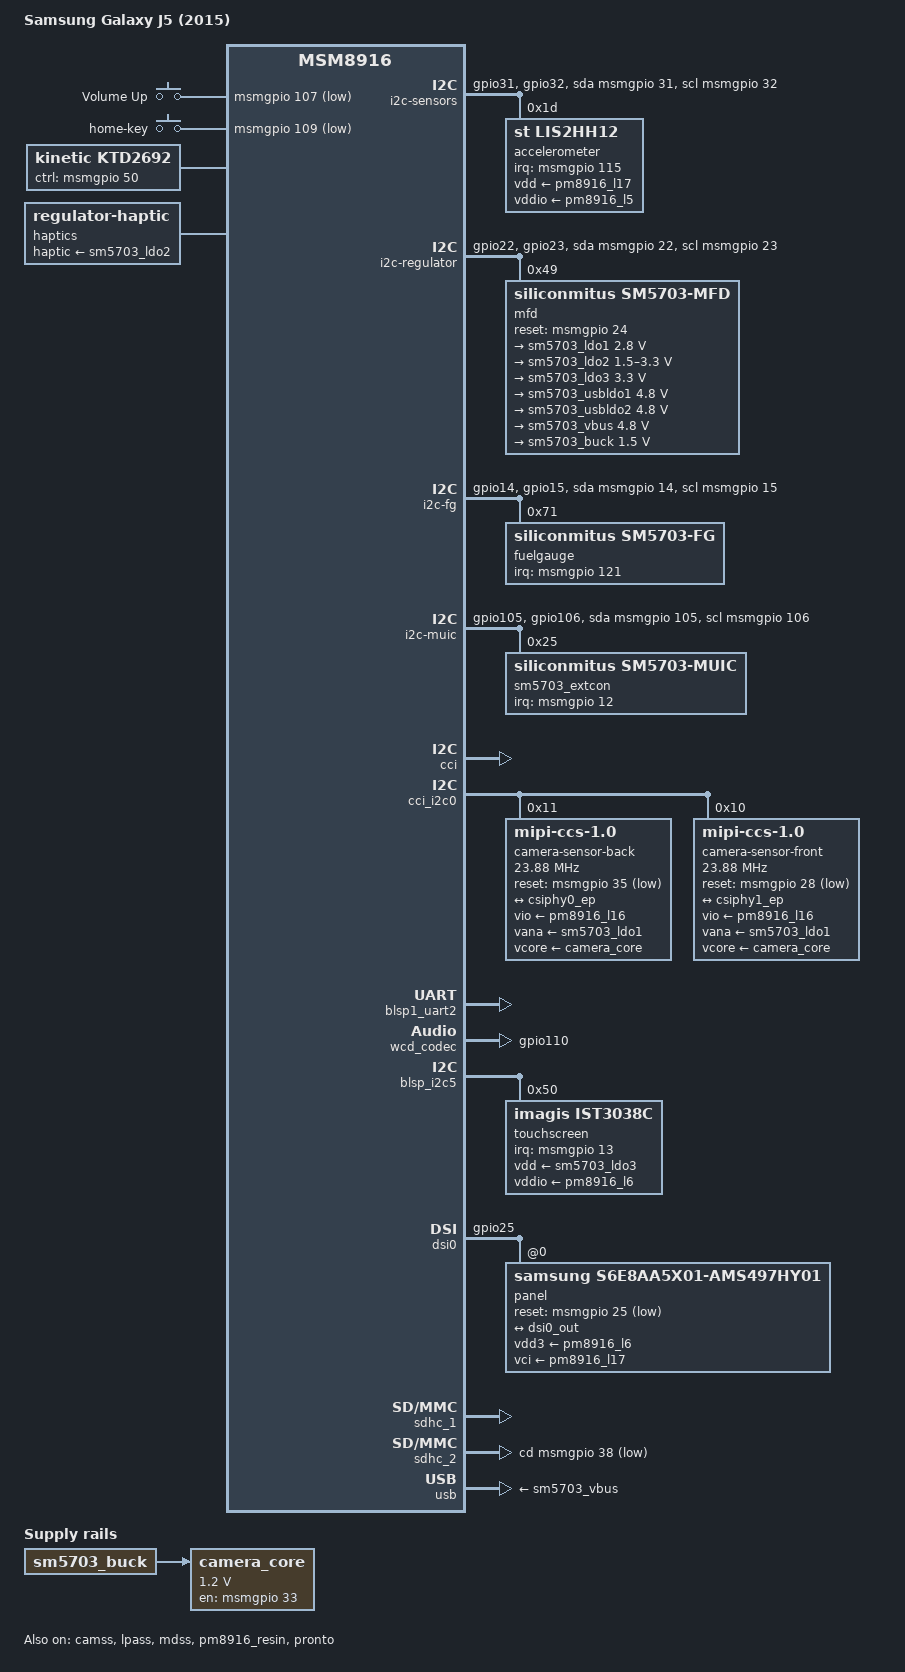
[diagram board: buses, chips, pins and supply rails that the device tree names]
// SPDX-License-Identifier: GPL-2.0-only

/dts-v1/;

#include "msm8916-pm8916.dtsi"
#include <dt-bindings/gpio/gpio.h>
#include <dt-bindings/leds/common.h>
#include <dt-bindings/sound/apq8016-lpass.h>

/ {
	model = "Samsung Galaxy J5 (2015)";
	compatible = "samsung,j5", "qcom,msm8916";
	chassis-type = "handset";

	aliases {
		serial0 = &blsp1_uart2;
	};

	chosen {
		stdout-path = "serial0";
	};

	reserved-memory {
		/* Additional memory used by Samsung firmware modifications */
		tz-apps@85500000 {
			reg = <0x0 0x85500000 0x0 0xb00000>;
			no-map;
		};
		mpss_mem: mpss@86800000 {
			reg = <0x0 0x86800000 0x0 0x5500000>;
			no-map;
		};

		gps_mem: gps@8bd00000 {
			reg = <0x0 0x8bd00000 0x0 0x200000>;
			no-map;
		};
	};

	gpio-keys {
		compatible = "gpio-keys";

		pinctrl-names = "default";
		pinctrl-0 = <&gpio_keys_default>;

		label = "GPIO Buttons";

		volume-up {
			label = "Volume Up";
			gpios = <&msmgpio 107 GPIO_ACTIVE_LOW>;
			linux,code = <KEY_VOLUMEUP>;
		};

		home-key {
			lable = "Home Key";
			gpios = <&msmgpio 109 GPIO_ACTIVE_LOW>;
			linux,code = <KEY_HOMEPAGE>;
			wakeup-source;
		};
	};

	i2c-sensors {
		compatible = "i2c-gpio";

		sda-gpios = <&msmgpio 31 (GPIO_ACTIVE_HIGH|GPIO_OPEN_DRAIN)>;
		scl-gpios = <&msmgpio 32 (GPIO_ACTIVE_HIGH|GPIO_OPEN_DRAIN)>;

		pinctrl-names = "default";
		pinctrl-0 = <&sensors_i2c_default>;

		#address-cells = <1>;
		#size-cells = <0>;

		accelerometer@1d {
			compatible = "st,lis2hh12";
			reg = <0x1d>;

			interrupt-parent = <&msmgpio>;
			interrupts = <115 IRQ_TYPE_EDGE_RISING>;
			interrupt-names = "INT1";

			pinctrl-names = "default";
			pinctrl-0 = <&accel_int_default>;

			vdd-supply = <&pm8916_l17>;
			vddio-supply = <&pm8916_l5>;

			st,drdy-int-pin = <1>;
		};
	};

	i2c-regulator {
		compatible = "i2c-gpio";

		sda-gpios = <&msmgpio 22 (GPIO_ACTIVE_HIGH|GPIO_OPEN_DRAIN)>;
		scl-gpios = <&msmgpio 23 (GPIO_ACTIVE_HIGH|GPIO_OPEN_DRAIN)>;

		pinctrl-names = "default";
		pinctrl-0 = <&regulator_i2c_default>;

		#address-cells = <1>;
		#size-cells = <0>;

		mfd@49 {
			compatible = "siliconmitus,sm5703-mfd";
			reg = <0x49>;

			reset-gpio = <&msmgpio 24 GPIO_ACTIVE_HIGH>;
			pinctrl-0 = <&mrstb_default>;

			regulator {
				compatible = "siliconmitus,sm5703-regulator";

				regulators {
					sm5703_ldo1: ldo1 {
						regulator-min-microvolt = <2800000>;
						regulator-max-microvolt = <2800000>;
						regulator-always-on;
					};

					sm5703_ldo2: ldo2 {
						regulator-min-microvolt = <1500000>;
						regulator-max-microvolt = <3300000>;
					};

					sm5703_ldo3: ldo3 {
						regulator-min-microvolt = <3300000>;
						regulator-max-microvolt = <3300000>;
					};

					sm5703_usbldo1: usbldo1 {
						regulator-min-microvolt = <4800000>;
						regulator-max-microvolt = <4800000>;
					};

					sm5703_usbldo2: usbldo2 {
						regulator-min-microvolt = <4800000>;
						regulator-max-microvolt = <4800000>;
					};

					sm5703_vbus: vbus {
						regulator-min-microvolt = <4800000>;
						regulator-max-microvolt = <4800000>;
					};
	
					sm5703_buck: buck {
						regulator-min-microvolt = <1500000>;
						regulator-max-microvolt = <1500000>;
						regulator-always-on;
					};
				};
			};

			flash {
				compatible = "siliconmitus,sm5703-flash";

				flash-gpio = <&msmgpio 34 GPIO_ACTIVE_HIGH>;
				torch-gpio = <&msmgpio 36 GPIO_ACTIVE_HIGH>;

				back-led {
					function = LED_FUNCTION_FLASH;
					color = <LED_COLOR_ID_WHITE>;
					led-max-microamp = <170000>;
					flash-max-microamp = <1200000>;
				};
			};

			charger {
				compatible = "siliconmitus,sm5703-charger";
				siliconmitus,enable-autoset;
				siliconmitus,enable-autostop;
			};
		};
	};

	i2c-fg {
		compatible = "i2c-gpio";

		sda-gpios = <&msmgpio 14 (GPIO_ACTIVE_HIGH|GPIO_OPEN_DRAIN)>;
		scl-gpios = <&msmgpio 15 (GPIO_ACTIVE_HIGH|GPIO_OPEN_DRAIN)>;

		pinctrl-names = "default";
		pinctrl-0 = <&fg_i2c_default>;
		status = "okay";

		#address-cells = <1>;
		#size-cells = <0>;

		fuelgauge@50 {
			compatible = "siliconmitus,sm5703-fg";
			reg = <0x71>;

			interrupt-parent = <&msmgpio>;
			interrupts = <121 IRQ_TYPE_EDGE_FALLING>;
		};
	};

	i2c-muic {
		compatible = "i2c-gpio";

		sda-gpios = <&msmgpio 105 (GPIO_ACTIVE_HIGH|GPIO_OPEN_DRAIN)>;
		scl-gpios = <&msmgpio 106 (GPIO_ACTIVE_HIGH|GPIO_OPEN_DRAIN)>;

		pinctrl-names = "default";
		pinctrl-0 = <&muic_i2c_default>;
		status = "okay";

		#address-cells = <1>;
		#size-cells = <0>;

		sm5703_extcon: extcon@50 {
			compatible = "siliconmitus,sm5703-muic";
			reg = <0x25>;
			interrupt-parent = <&msmgpio>;
			interrupts = <12 IRQ_TYPE_EDGE_FALLING>;
		};
	};

	ktd2692 {
		compatible = "kinetic,ktd2692";
		ctrl-gpios = <&msmgpio 50 GPIO_ACTIVE_HIGH>;

		front-flash-led {
			function = LED_FUNCTION_FLASH;
			color = <LED_COLOR_ID_WHITE>;
			led-max-microamp = <300000>;
			flash-max-microamp = <1500000>;
			flash-max-timeout-us = <1835000>;
		};
	};

	camera_core: regulator_core_supply {
		compatible = "regulator-fixed";
		regulator-name = "regulator_camera_core";
		regulator-min-microvolt = <1200000>;
		regulator-max-microvolt = <1200000>;

		vin-supply = <&sm5703_buck>;

		gpio = <&msmgpio 33 GPIO_ACTIVE_HIGH>;
		enable-active-high;
		regulator-always-on;

		pinctrl-names = "default";
		pinctrl-0 = <&camera_regulator_fixed>;
	};

	haptics {
		compatible = "regulator-haptic";
		haptic-supply = <&sm5703_ldo2>;
		min-microvolt = <3300000>;
		max-microvolt = <3300000>;
	};
};

&camss {
	status = "okay";

	ports {
		port@0 {
			reg = <0>;
			csiphy0_ep: endpoint {
				clock-lanes = <1>;
				data-lanes = <0 1 2 3>;
				remote-endpoint = <&ccs_ep_b>;
			};
		};
		port@1 {
			reg = <1>;
			csiphy1_ep: endpoint {
				clock-lanes = <1>;
				data-lanes = <0 1>;
				remote-endpoint = <&ccs_ep_f>;
			};
		};
	};
};

&cci {
	status = "okay";
};

// link-freq = width * height * bpp * fps / (2 * nlanes)

&cci_i2c0 {
	#address-cells = <1>;
	#size-cells = <0>;

    camera-sensor-back@11 {
		reg = <0x11>;
        compatible = "mipi-ccs-1.0", "mipi-ccs";
		vio-supply = <&pm8916_l16>;
        vana-supply = <&sm5703_ldo1>;
		vcore-supply = <&camera_core>;
        reset-gpios = <&msmgpio 35 GPIO_ACTIVE_LOW>;
        clocks = <&gcc GCC_CAMSS_MCLK0_CLK>;
        clock-frequency = <23880000>;
		pinctrl-names = "default";
		pinctrl-0 = <&camera_back_default_a>;
        port {
            ccs_ep_b: endpoint {
                data-lanes = <0 1 2 3>;
                bus-type = <4>;
                remote-endpoint = <&csiphy0_ep>;
                link-frequencies = /bits/ 64 <146000000>;
            };
        };
   };
    camera-sensor-front@10 {
		reg = <0x10>;
        compatible = "mipi-ccs-1.0", "mipi-ccs";
		vio-supply = <&pm8916_l16>;
        vana-supply = <&sm5703_ldo1>;
		vcore-supply = <&camera_core>;
        reset-gpios = <&msmgpio 28 GPIO_ACTIVE_LOW>;
        clocks = <&gcc GCC_CAMSS_MCLK1_CLK>;
        clock-frequency = <23880000>;
		pinctrl-names = "default";
		pinctrl-0 = <&camera_front_default_a>;
        port {
            ccs_ep_f: endpoint {
                data-lanes = <0 1>;
                bus-type = <4>;
                remote-endpoint = <&csiphy1_ep>; // 146MHz
                link-frequencies = /bits/ 64 <1086324736>;
            };
        };
   };
};

&blsp1_uart2 {
	status = "okay";
};

&lpass {
	status = "okay";
};

&sound {
	status = "okay";

	pinctrl-names = "default", "sleep";
	pinctrl-0 = <&cdc_pdm_lines_act>;
	pinctrl-1 = <&cdc_pdm_lines_sus>;

	model = "msm8916";
	audio-routing =
		"AMIC1", "MIC BIAS External1",
		"AMIC2", "Headset Mic",
		"AMIC3", "MIC BIAS External1";

	dai-link-primary {
		link-name = "Primary MI2S";
		cpu {
			sound-dai = <&lpass MI2S_PRIMARY>;
		};
		codec {
			sound-dai = <&lpass_codec 0>, <&wcd_codec 0>;
		};
	};

	dai-link-tertiary {
		link-name = "Tertiary MI2S";
		cpu {
			sound-dai = <&lpass MI2S_TERTIARY>;
		};
		codec {
			sound-dai = <&lpass_codec 1>, <&wcd_codec 1>;
		};
	};
};

&wcd_codec {
	jack-gpios = <&msmgpio 110 GPIO_ACTIVE_LOW>;
	qcom,micbias1-ext-cap;

	pinctrl-names = "default";
	pinctrl-0 = <&jack_default>;
};

&blsp_i2c5 {
	status = "okay";

	#address-cells = <1>;
	#size-cells = <0>;

	touchscreen@50 {
		compatible = "imagis,ist3038c";
		reg = <0x50>;

		interrupt-parent = <&msmgpio>;
		interrupts = <13 IRQ_TYPE_EDGE_FALLING>;

		touchscreen-size-x = <720>;
		touchscreen-size-y = <1280>;

		vdd-supply = <&sm5703_ldo3>;
		vddio-supply = <&pm8916_l6>;
	};
};

&dsi0 {
	pinctrl-names = "default", "sleep";
	pinctrl-0 = <&mdss_default>;
	pinctrl-1 = <&mdss_sleep>;

	panel@0 {
		reg = <0>;

		compatible = "samsung,s6e8aa5x01-ams497hy01";

		vdd3-supply = <&pm8916_l6>;
		vci-supply = <&pm8916_l17>;

		reset-gpios = <&msmgpio 25 GPIO_ACTIVE_LOW>;

		port {
			panel_in: endpoint {
				remote-endpoint = <&dsi0_out>;
			};
		};
	};
};

&dsi0_out {
	data-lanes = <0 1 2 3>;
	remote-endpoint = <&panel_in>;
};

&mdss {
	status = "okay";
};

&pm8916_resin {
	status = "okay";
	linux,code = <KEY_VOLUMEDOWN>;
};

&pronto {
	status = "okay";
};

&sdhc_1 {
	status = "okay";

	pinctrl-names = "default", "sleep";
	pinctrl-0 = <&sdc1_clk_on &sdc1_cmd_on &sdc1_data_on>;
	pinctrl-1 = <&sdc1_clk_off &sdc1_cmd_off &sdc1_data_off>;
};

&sdhc_2 {
	status = "okay";

	pinctrl-names = "default", "sleep";
	pinctrl-0 = <&sdc2_clk_on &sdc2_cmd_on &sdc2_data_on &sdc2_cd_on>;
	pinctrl-1 = <&sdc2_clk_off &sdc2_cmd_off &sdc2_data_off &sdc2_cd_off>;

	cd-gpios = <&msmgpio 38 GPIO_ACTIVE_LOW>;
};

&usb {
	status = "okay";
	extcon = <&sm5703_extcon>, <&sm5703_extcon>;
	vbus-supply = <&sm5703_vbus>;
};

&usb_hs_phy {
	extcon = <&sm5703_extcon>;
	qcom,init-seq = /bits/ 8 <0x1 0x19 0x2 0x0b>;
};

&smd_rpm_regulators {
	vdd_l1_l2_l3-supply = <&pm8916_s3>;
	vdd_l4_l5_l6-supply = <&pm8916_s4>;
	vdd_l7-supply = <&pm8916_s4>;

	s3 {
		regulator-min-microvolt = <1200000>;
		regulator-max-microvolt = <1300000>;
	};

	s4 {
		regulator-min-microvolt = <1800000>;
		regulator-max-microvolt = <2100000>;
	};

	l1 {
		regulator-min-microvolt = <1225000>;
		regulator-max-microvolt = <1225000>;
	};

	l2 {
		regulator-min-microvolt = <1200000>;
		regulator-max-microvolt = <1200000>;
	};

	l4 {
		regulator-min-microvolt = <2050000>;
		regulator-max-microvolt = <2050000>;
	};

	l5 {
		regulator-min-microvolt = <1800000>;
		regulator-max-microvolt = <1800000>;
	};

	l6 {
		regulator-min-microvolt = <1800000>;
		regulator-max-microvolt = <1800000>;
	};

	l7 {
		regulator-min-microvolt = <1800000>;
		regulator-max-microvolt = <1800000>;
	};

	l8 {
		regulator-min-microvolt = <2850000>;
		regulator-max-microvolt = <2900000>;
	};

	l9 {
		regulator-min-microvolt = <3300000>;
		regulator-max-microvolt = <3300000>;
	};

	l10 {
		regulator-min-microvolt = <2800000>;
		regulator-max-microvolt = <2800000>;
		regulator-always-on; // autofocus
	};

	l11 {
		regulator-min-microvolt = <1800000>;
		regulator-max-microvolt = <2950000>;
		regulator-allow-set-load;
		regulator-system-load = <200000>;
	};

	l12 {
		regulator-min-microvolt = <1800000>;
		regulator-max-microvolt = <2950000>;
	};

	l13 {
		regulator-min-microvolt = <3075000>;
		regulator-max-microvolt = <3075000>;
	};

	l14 {
		regulator-min-microvolt = <1800000>;
		regulator-max-microvolt = <3300000>;
	};

	l15 {
		regulator-min-microvolt = <1800000>;
		regulator-max-microvolt = <3300000>;
	};

	l16 {
		regulator-min-microvolt = <1800000>;
		regulator-max-microvolt = <3300000>;
		regulator-always-on;
	};

	l17 {
		regulator-min-microvolt = <3000000>;
		regulator-max-microvolt = <3000000>;
	};

	l18 {
		regulator-min-microvolt = <2700000>;
		regulator-max-microvolt = <2700000>;
	};
};

&msmgpio {
	mrstb_default: mrstb-default {
		pins = "gpio24";
		function = "gpio";

		drive-strength = <2>;
		bias-disable;
	};

	accel_int_default: accel-int-default {
		pins = "gpio115";
		function = "gpio";

		drive-strength = <2>;
		bias-disable;
	};

	gpio_keys_default: gpio-keys-default {
		pins = "gpio107", "gpio109";
		function = "gpio";

		drive-strength = <2>;
		bias-pull-up;
	};

	mdss {
		mdss_default: mdss-default {
			pins = "gpio25";
			function = "gpio";

			drive-strength = <8>;
			bias-disable;
		};
		mdss_sleep: mdss-sleep {
			pins = "gpio25";
			function = "gpio";

			drive-strength = <2>;
			bias-pull-down;
		};
	};

	sensors_i2c_default: sensors-i2c-default {
		pins = "gpio31", "gpio32";
		function = "gpio";

		drive-strength = <2>;
		bias-disable;
	};

	regulator_i2c_default: regulator-i2c-default {
		pins = "gpio22", "gpio23";
		function = "gpio";

		drive-strength = <2>;
		bias-disable;
	};

	fg_i2c_default: fg-i2c-default {
		pins = "gpio14", "gpio15";
		function = "gpio";

		drive-strength = <2>;
		bias-disable;
	};

	muic_i2c_default: muic-i2c-default {
		pins = "gpio105", "gpio106";
		function = "gpio";

		drive-strength = <2>;
		bias-disable;
	};

	jack_default: jack-default {
		pins = "gpio110";
		function = "gpio";

		drive-strength = <2>;
		bias-disable;
	};

	camera_regulator_fixed: camera-regulator-fixed {
		pins = "gpio33";
		function = "gpio";

		drive-strength = <2>;
		bias-disable;
	};

	camera_front_default_a: camera-front-default-a {
		rst {
			pins = "gpio28";
			function = "gpio";

			drive-strength = <16>;
			bias-disable;
		};
		mclk1 {
			pins = "gpio27";
			function = "cam_mclk1";

			drive-strength = <16>;
			bias-disable;
		};
	};

	camera_back_default_a: camera-back-default-a {
		rst {
			pins = "gpio35";
			function = "gpio";

			drive-strength = <16>;
			bias-disable;
		};
		mclk0 {
			pins = "gpio26";
			function = "cam_mclk0";

			drive-strength = <16>;
			bias-disable;
		};
	};
};
